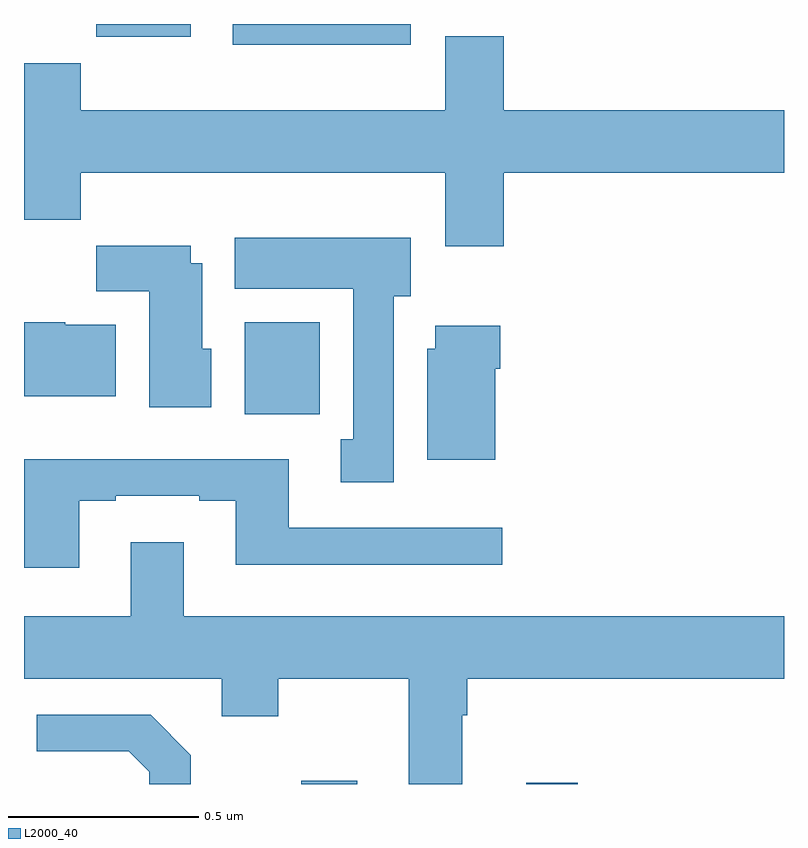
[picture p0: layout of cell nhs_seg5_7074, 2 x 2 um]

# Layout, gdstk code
import gdstk
lib = gdstk.Library(unit=1e-6, precision=1e-09)
def R(c, l, rs):  # rectangles x0, y0, x1, y1
    for r in rs: c.add(gdstk.rectangle(r[:2], r[2:], *l))
def P(c, l, *ps):  # polygons
    for p in ps: c.add(gdstk.Polygon(p, *l))
L2000_40 = (2000, 40)

nhs_seg5_7074 = lib.new_cell('nhs_seg5_7074')
R(nhs_seg5_7074, L2000_40, [(204.729,873.799,204.877,873.808), (205.322,873.799,205.457,873.802), (204.581,874.772,204.778,875.014), (204.549,875.744,205.018,875.799), (204.19,875.766,204.439,875.799)])
P(nhs_seg5_7074, L2000_40, [(205.262,875.408),(206,875.408),(206,875.572),(205.262,875.572),(205.262,875.767),(205.109,875.767),(205.109,875.572),(204.149,875.572),(204.149,875.696),(204,875.696),(204,875.284),(204.149,875.284),(204.149,875.408),(205.109,875.408),(205.109,875.214),(205.262,875.214)],
  [(204.973,875.082),(205.018,875.082),(205.018,875.236),(204.554,875.236),(204.554,875.102),(204.866,875.102),(204.866,874.706),(204.833,874.706),(204.833,874.593),(204.973,874.593)],
  [(204.493,874.944),(204.469,874.944),(204.469,875.17),(204.439,875.17),(204.439,875.215),(204.19,875.215),(204.19,875.096),(204.329,875.096),(204.329,874.79),(204.493,874.79)],
  [(204.241,875.008),(204.108,875.008),(204.108,875.014),(204,875.014),(204,874.82),(204.241,874.82)],
  [(205.24,874.892),(205.253,874.892),(205.253,875.005),(205.082,875.005),(205.082,874.944),(205.061,874.944),(205.061,874.652),(205.24,874.652)],
  [(204.145,874.545),(204.241,874.545),(204.241,874.557),(204.461,874.557),(204.461,874.545),(204.557,874.545),(204.557,874.376),(205.258,874.376),(205.258,874.473),(204.697,874.473),(204.697,874.654),(204,874.654),(204,874.368),(204.145,874.368)],
  [(205.153,873.98),(205.166,873.98),(205.166,874.076),(206,874.076),(206,874.24),(204.421,874.24),(204.421,874.435),(204.281,874.435),(204.281,874.24),(204,874.24),(204,874.076),(204.521,874.076),(204.521,873.977),(204.669,873.977),(204.669,874.076),(205.013,874.076),(205.013,873.799),(205.153,873.799)],
  [(204.439,873.875),(204.333,873.981),(204.033,873.981),(204.033,873.885),(204.276,873.885),(204.33,873.831),(204.33,873.799),(204.439,873.799)])

lib.write_gds('nhs_seg5_7074.gds')
